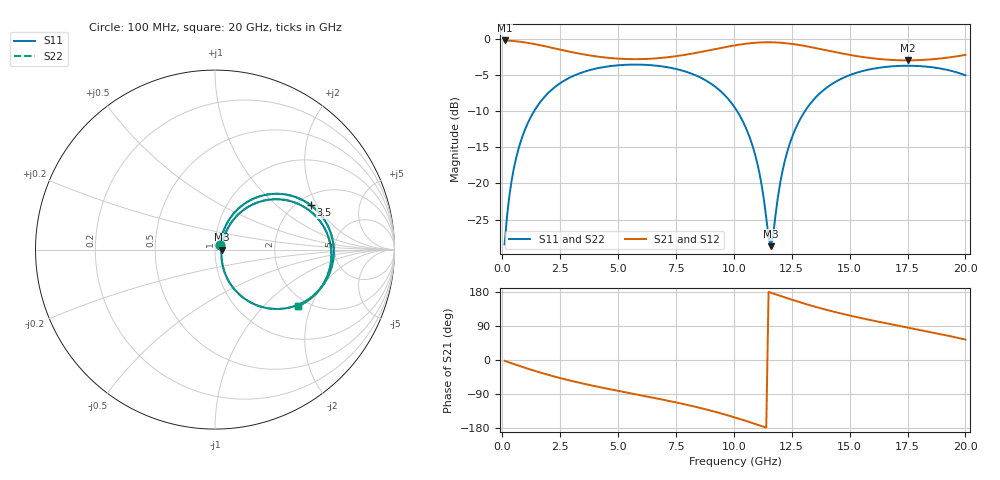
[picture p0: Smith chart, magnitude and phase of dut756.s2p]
! Touchstone file exported from HFSS 2026.1.0
!  File:  C:/ffzhzh/LocalFiles/Ansys_Project_Files/temp_train_TSV_RDL_756_1783206688_18472.aedt
!  Generated:  07:28:38 AM Jul  5, 2026
!  Design:  TSV_RDL
!  Project:  temp_train_TSV_RDL_756_1783206688_18472
! Variables:
!  h_bsmrdl = 4.74um
!  h_ox = 20um
!  h_rdl = 5um
!  h_sub = 63.42um
!  h_tmrdl = 5.73um
!  h_tsv = 63.42um
!  h_via = 3um
!  l_bsmrdl = 730.29um
!  l_sub = 5606.07um
!  l_tmrdl = 730.31um
!  m_sub = 200um
!  pitch = 53.29um
!  r_tsv = 3.22um
!  s_tmrdl = 10um
!  w_bsmrdl = 11.64um
!  w_sub = 500um
!  w_tmrdl = 19.68um
!  x_tsv_center1 = 740.15um
!  x_tsv_center2 = 1482.08um
!  x_tsv_center3 = 2232.07um
!  x_tsv_center4 = 2974um
!  x_tsv_center5 = 3723.99um
!  x_tsv_center6 = 4465.92um
# GHz S MA R 50.000000
! Terminal data exported
! Port[1] = TM_RDL1_1_T1
! Port[2] = TM_RDL5_1_T1
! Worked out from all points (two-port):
!   200 points, 100 MHz to 20 GHz, reference 50 ohm
!   highest |S21| = -0.25 dB at 100 MHz (marker M1); lowest = -3.0 dB at 17.5 GHz (marker M2)
!   |S21| within 3 dB of the highest: start of sweep to end of sweep
!   lowest |S11| = -28.7 dB at 11.6 GHz (marker M3), VSWR 1.08, Z = 53.8 - j0.104 ohm
!   |S11| at or under -10 dB: start of sweep to 1.378 GHz; 10.14 GHz to 13.08 GHz (2.939 GHz wide, 25.3 % of centre)
!   |S22| runs from -28.8 to -3.6 dB; largest |S21 - S12| = 1.7e-14
!   S11 on the Smith chart (normalised r, x): 100 MHz: 1.06, +0.05; 3.5 GHz: 2.35, +1.77; 20 GHz: 1.76, -1.61
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0.1  0.03789 40.5  0.9718 -2.2  0.9718 -2.2  0.03789 40.5
! Gamma 0 0 0 0
! Port Impedance 50 0 50 0
0.3  0.08079 62.5  0.9681 -6.4  0.9681 -6.4  0.08079 62.5
0.5  0.1271 65.8  0.9627 -10.6  0.9627 -10.6  0.1271 65.8
1.1  0.2605 60.5  0.9354 -22.8  0.9354 -22.8  0.2605 60.5
2.1  0.4387 44.8  0.8681 -41.2  0.8681 -41.2  0.4387 44.8
3.5  0.588 24.9  0.7791 -62.4  0.7791 -62.4  0.588 24.9
5.1  0.6565 5.5  0.7261 -82.6  0.7261 -82.6  0.6565 5.5
6.8  0.6464 -13.9  0.7345 -103.0  0.7345 -103.0  0.6465 -13.9
8.7  0.5243 -38.1  0.8167 -128.8  0.8167 -128.8  0.5243 -38.1
10.1  0.3231 -58.6  0.9018 -152.7  0.9018 -152.7  0.3231 -58.7
10.6  0.2254 -65.1  0.9259 -162.3  0.9259 -162.3  0.2254 -65.2
11  0.1405 -67.0  0.9388 -170.3  0.9388 -170.3  0.1404 -67.3
11.6  0.03681 -1.5  0.9443 177.4  0.9443 177.4  0.03621 -1.5
12  0.1003 56.4  0.938 169.2  0.938 169.2  0.1 56.7
12.3  0.1639 59.1  0.9285 163.2  0.9285 163.2  0.1638 59.3
12.8  0.2653 54.7  0.9052 153.5  0.9052 153.5  0.2652 54.8
13.4  0.3714 46.4  0.8694 142.5  0.8694 142.5  0.3713 46.5
14.7  0.534 28.1  0.7886 121.7  0.7886 121.7  0.5339 28.1
16.7  0.6413 3.8  0.7144 95.4  0.7144 95.4  0.6413 3.8
17.5  0.6498 -5.2  0.708 85.8  0.708 85.8  0.6498 -5.1
18.7  0.6301 -18.7  0.7234 71.2  0.7234 71.2  0.6301 -18.7
20  0.5581 -34.5  0.7724 53.9  0.7724 53.9  0.5581 -34.5
